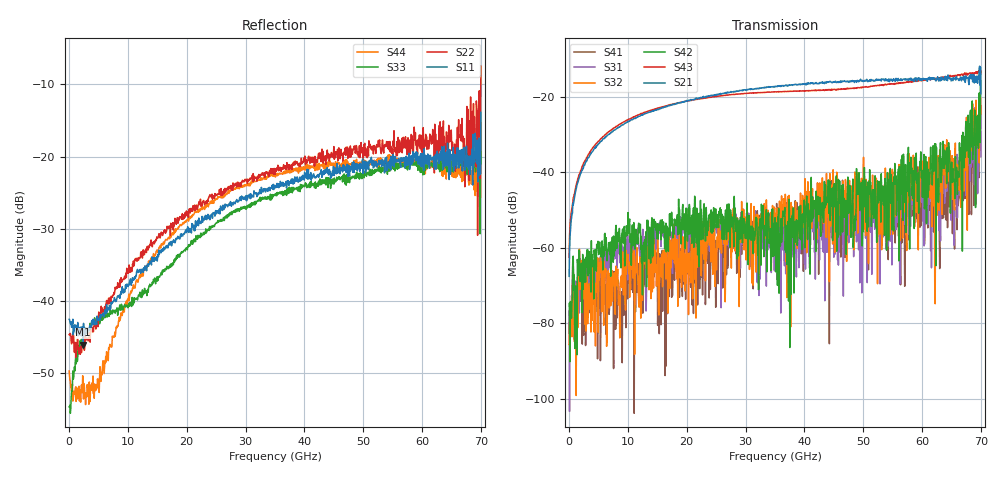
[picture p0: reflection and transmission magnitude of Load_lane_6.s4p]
! 4/13/2026 10:38:32 AM
! C:\ANRITSUVNA\DATA\SARA\2026-04-13 T5 MZDRV\DEEMB STRUCTURES\50OHM_1.S4P
! CHANNEL.1
! TR.MEASUREMENT
! CORRECTED.DATA
! RF.CORRECTION: FULL.FOUR.PORT.CAL.PORT.1.2.3.4
! AVERAGING.OFF
! IF.BANDWIDTH: 1KHZ
! SWEEPTYPE:  FREQ.SWEEP(Linear)
! Reference Plane Port Info
! PORT:  PORT1  PORT2  PORT3  PORT4
! DISTANCE:  0  m  0  m  0  m  0  m
! TIME:  0  s  0  s  0  s  0  s
! PHASE.OFFSET:  0 °  0 °  0 °  0 °
! LOSS:  0  dB  0  dB  0  dB  0  dB
! REF.LOSS:  0  dB  0  dB  0  dB  0  dB
! REF.FREQ:  0  Hz  0  Hz  0  Hz  0  Hz
! Power Info
! POWER:  -20  dBm  -20  dBm  -20  dBm  -20  dBm
! EFF.POWER:  -20  dBm  -20  dBm  -20  dBm  -20  dBm
! SOURCE.ATTEN:  0  dB  0  dB  0  dB  0  dB
! TEST.ATTEN:  0  dB  0  dB  0  dB  0  dB
# HZ S DB R 50.0
! FREQ.HZ  S11DB  S11A  S12DB  S12A  S13DB  S13A  S14DB  S14A
!  S21DB  S21A  S22DB  S22A  S23DB  S23A  S24DB  S24A
!  S31DB  S31A  S32DB  S32A  S33DB  S33A  S34DB  S34A
!  S41DB  S41A  S42DB  S42A  S43DB  S43A  S44DB  S44A
!; PortSelection: Port_1234
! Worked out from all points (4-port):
!   1001 points, 10 MHz to 70 GHz, reference 50 ohm
!   strongest paths, dB at 10 MHz, 17.51 GHz, 35.01 GHz, 52.5 GHz, 70 GHz:
!     S21: -67.6, -22.2, -17.4, -15.5, -19.2
!     S43: -62.6, -22.0, -18.7, -17.0, -13.3
!     S42: -74.8, -54.2, -52.1, -43.0, -13.5
!     S32: -85.7, -61.3, -55.6, -42.9, -24.5
!     S31: -77.1, -58.7, -51.6, -45.4, -36.0
!     S41: -82.6, -57.4, -57.9, -49.5, -22.5
!   lowest |S11| = -46.0 dB at 2.39 GHz (marker M1), VSWR 1.01, Z = 49.6 + j0.241 ohm
!   |S11| at or under -10 dB: start of sweep to end of sweep
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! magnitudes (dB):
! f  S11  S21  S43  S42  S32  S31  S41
! 10 MHz  -42.5  -67.6  -62.6  -74.8  -85.7  -77.1  -82.6
! 2.39 GHz  -46.0  -39.1  -38.0  -71.1  -69.8  -69.5  -77.9
! 25.42 GHz  -27.5  -19.4  -19.9  -54.7  -52.5  -52.6  -56.0
! 37.38 GHz  -24.0  -16.9  -18.6  -47.2  -46.2  -52.3  -55.4
! 43.75 GHz  -21.9  -16.4  -18.3  -47.9  -40.4  -55.1  -51.4
! 65.66 GHz  -21.3  -15.4  -14.4  -35.9  -32.3  -39.5  -47.5
! 70 GHz  -13.9  -19.2  -13.3  -13.5  -24.5  -36.0  -22.5
